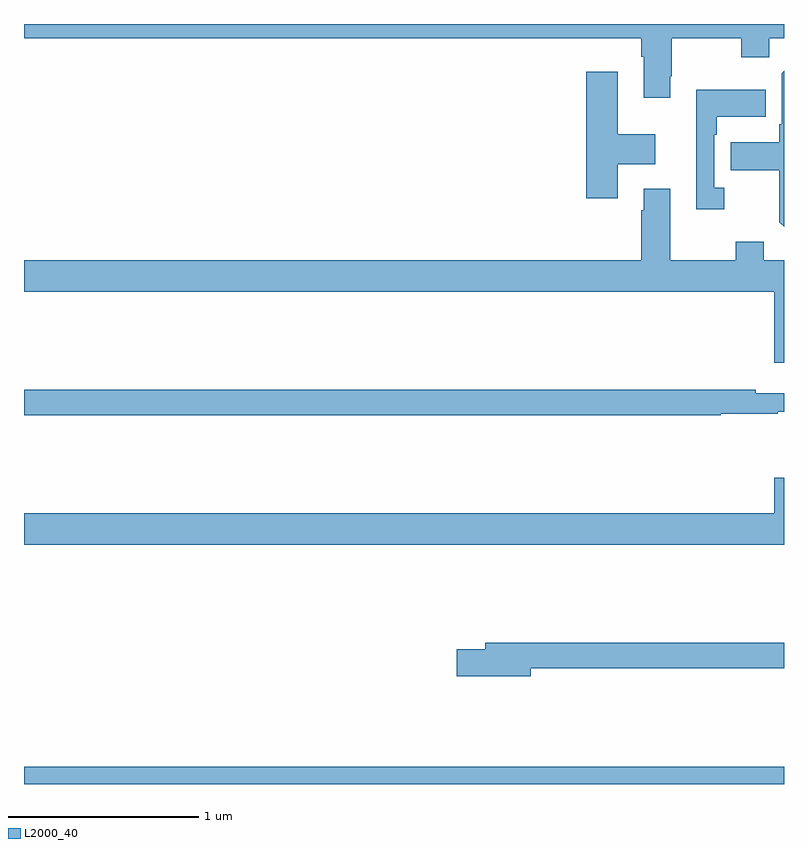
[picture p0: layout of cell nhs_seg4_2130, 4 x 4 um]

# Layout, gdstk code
import gdstk
lib = gdstk.Library(unit=1e-6, precision=1e-09)
def R(c, l, rs):  # rectangles x0, y0, x1, y1
    for r in rs: c.add(gdstk.rectangle(r[:2], r[2:], *l))
def P(c, l, *ps):  # polygons
    for p in ps: c.add(gdstk.Polygon(p, *l))
L2000_40 = (2000, 40)

nhs_seg4_2130 = lib.new_cell('nhs_seg4_2130')
R(nhs_seg4_2130, L2000_40, [(221,788.9,225,788.992)])
P(nhs_seg4_2130, L2000_40, [(224.401,792.625),(224.409,792.625),(224.409,792.824),(224.776,792.824),(224.776,792.725),(224.922,792.725),(224.922,792.824),(225,792.824),(225,792.9),(221,792.9),(221,792.824),(224.249,792.824),(224.249,792.728),(224.261,792.728),(224.261,792.513),(224.401,792.513)],
  [(225,792.654),(224.988,792.642),(224.988,792.373),(224.976,792.373),(224.976,792.277),(224.719,792.277),(224.719,792.13),(224.976,792.13),(224.976,791.857),(225,791.833)],
  [(224.125,792.161),(224.323,792.161),(224.323,792.319),(224.125,792.319),(224.125,792.649),(223.958,792.649),(223.958,791.982),(224.125,791.982)],
  [(224.686,792.038),(224.634,792.038),(224.634,792.317),(224.647,792.317),(224.647,792.413),(224.903,792.413),(224.903,792.553),(224.537,792.553),(224.537,791.925),(224.686,791.925)],
  [(225,791.656),(224.893,791.656),(224.893,791.755),(224.746,791.755),(224.746,791.656),(224.401,791.656),(224.401,792.034),(224.261,792.034),(224.261,791.921),(224.249,791.921),(224.249,791.656),(221,791.656),(221,791.492),(224.948,791.492),(224.948,791.118),(225,791.118)],
  [(224.666,790.848),(224.966,790.848),(224.966,790.86),(225,790.86),(225,790.957),(224.852,790.957),(224.852,790.976),(221,790.976),(221,790.84),(224.666,790.84)],
  [(225,790.513),(224.948,790.513),(224.948,790.324),(221,790.324),(221,790.16),(225,790.16)],
  [(223.666,789.508),(225,789.508),(225,789.644),(223.427,789.644),(223.427,789.608),(223.278,789.608),(223.278,789.466),(223.666,789.466)])

lib.write_gds('nhs_seg4_2130.gds')
